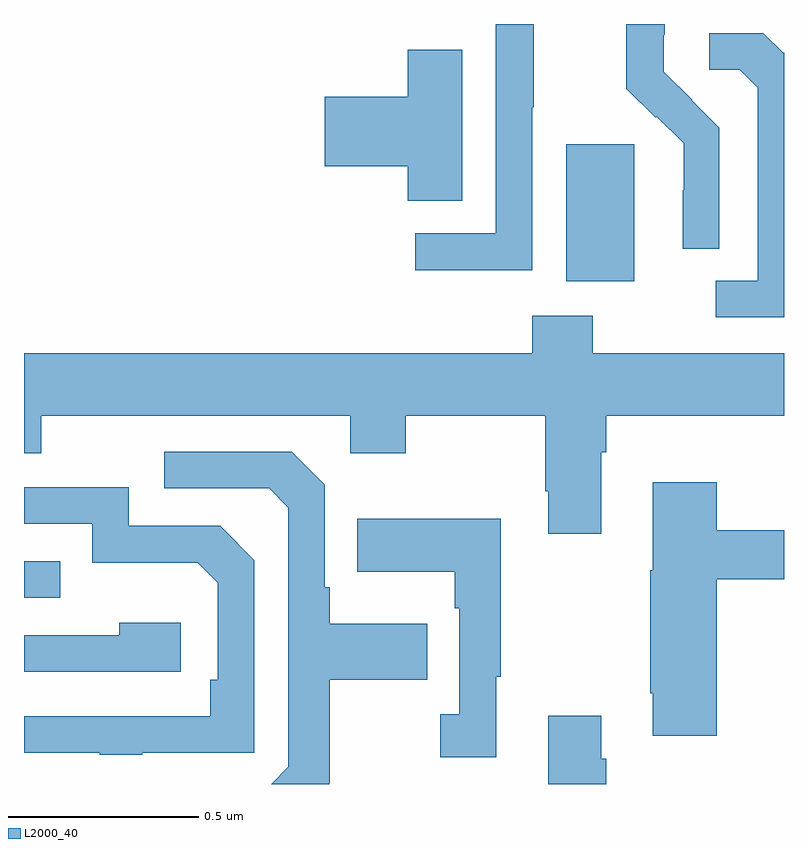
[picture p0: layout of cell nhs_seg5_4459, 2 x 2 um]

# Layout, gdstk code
import gdstk
lib = gdstk.Library(unit=1e-6, precision=1e-09)
def R(c, l, rs):  # rectangles x0, y0, x1, y1
    for r in rs: c.add(gdstk.rectangle(r[:2], r[2:], *l))
def P(c, l, *ps):  # polygons
    for p in ps: c.add(gdstk.Polygon(p, *l))
L2000_40 = (2000, 40)

nhs_seg5_4459 = lib.new_cell('nhs_seg5_4459')
R(nhs_seg5_4459, L2000_40, [(171,848.289,171.095,848.385), (172.427,849.122,172.606,849.483)])
P(nhs_seg5_4459, L2000_40, [(172.338,849.58),(172.341,849.58),(172.341,849.799),(172.242,849.799),(172.242,849.249),(172.029,849.249),(172.029,849.151),(172.338,849.151)],
  [(172.83,849.526),(172.757,849.599),(172.758,849.6),(172.684,849.674),(172.684,849.771),(172.686,849.771),(172.686,849.799),(172.585,849.799),(172.585,849.629),(172.662,849.552),(172.665,849.555),(172.736,849.485),(172.736,849.362),(172.734,849.362),(172.734,849.208),(172.83,849.208)],
  [(173,849.723),(172.998,849.723),(172.946,849.775),(172.803,849.775),(172.803,849.678),(172.884,849.678),(172.931,849.631),(172.931,849.123),(172.821,849.123),(172.821,849.027),(173,849.027)],
  [(172.153,849.731),(172.01,849.731),(172.01,849.608),(171.792,849.608),(171.792,849.425),(172.01,849.425),(172.01,849.334),(172.153,849.334)],
  [(172.519,848.672),(172.532,848.672),(172.532,848.768),(173,848.768),(173,848.932),(172.497,848.932),(172.497,849.031),(172.337,849.031),(172.337,848.932),(171,848.932),(171,848.669),(171.045,848.669),(171.045,848.768),(171.858,848.768),(171.858,848.669),(172.005,848.669),(172.005,848.768),(172.372,848.768),(172.372,848.569),(172.379,848.569),(172.379,848.457),(172.519,848.457)],
  [(171.805,847.801),(171.805,848.074),(172.061,848.074),(172.061,848.221),(171.805,848.221),(171.805,848.317),(171.792,848.317),(171.792,848.586),(171.705,848.673),(171.369,848.673),(171.369,848.577),(171.645,848.577),(171.696,848.526),(171.696,847.845),(171.65,847.799),(171.803,847.799)],
  [(172.823,848.338),(173,848.338),(173,848.467),(172.823,848.467),(172.823,848.593),(172.655,848.593),(172.655,848.361),(172.648,848.361),(172.648,848.038),(172.655,848.038),(172.655,847.926),(172.823,847.926)],
  [(171.311,847.881),(171.606,847.881),(171.606,848.388),(171.516,848.478),(171.276,848.478),(171.276,848.58),(171,848.58),(171,848.484),(171.18,848.484),(171.18,848.381),(171.457,848.381),(171.51,848.328),(171.51,848.074),(171.49,848.074),(171.49,847.977),(171,847.977),(171,847.881),(171.199,847.881),(171.199,847.876),(171.311,847.876)],
  [(172.243,848.081),(172.255,848.081),(172.255,848.497),(171.877,848.497),(171.877,848.357),(172.134,848.357),(172.134,848.261),(172.146,848.261),(172.146,847.982),(172.095,847.982),(172.095,847.869),(172.243,847.869)],
  [(171.412,848.224),(171.251,848.224),(171.251,848.19),(171,848.19),(171,848.094),(171.412,848.094)],
  [(172.532,847.865),(172.519,847.865),(172.519,847.978),(172.379,847.978),(172.379,847.799),(172.532,847.799)])

lib.write_gds('nhs_seg5_4459.gds')
